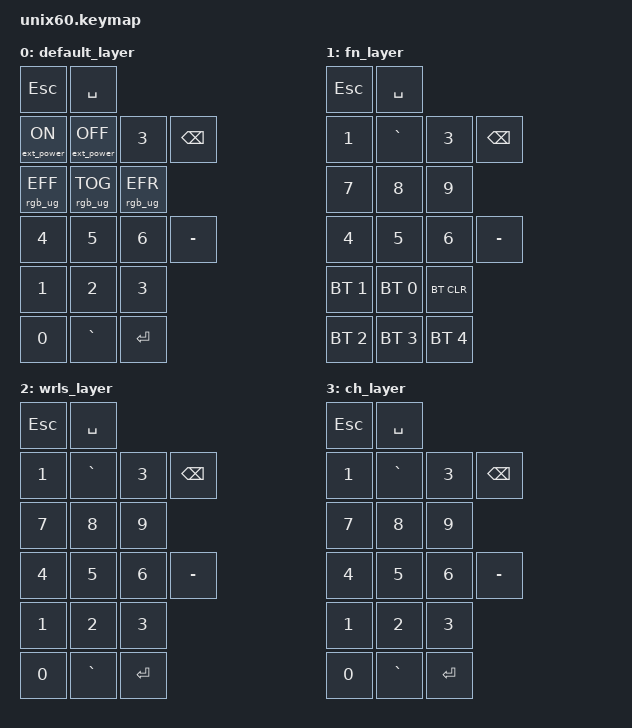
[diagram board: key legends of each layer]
#include <behaviors.dtsi>
#include <dt-bindings/zmk/keys.h>
#include <dt-bindings/zmk/bt.h>
#include <dt-bindings/zmk/ext_power.h>
#include <dt-bindings/zmk/rgb.h>

#define DEFAULT 0
#define FN 1
#define WRLS 2
#define CH 3


&pinctrl {
    spi3_default: spi3_default {
        group1 {
            psels = <NRF_PSEL(SPIM_MOSI, 0, 9)>;
        };
    };

    spi3_sleep: spi3_sleep {
        group1 {
            psels = <NRF_PSEL(SPIM_MOSI, 0, 9)>;
            low-power-enable;
        };
    };
};

&spi3 {
    compatible = "nordic,nrf-spim";
    status = "okay";

    pinctrl-0 = <&spi3_default>;
    pinctrl-1 = <&spi3_sleep>;
    pinctrl-names = "default", "sleep";

    led_strip: ws2812@0 {
        compatible = "worldsemi,ws2812-spi";

        /* SPI */
        reg = <0>; /* ignored, but necessary for SPI bindings */
        spi-max-frequency = <4000000>;

        /* WS2812 */
        chain-length = <11>;
        spi-one-frame = <0x70>;
        spi-zero-frame = <0x40>;

        color-mapping = <LED_COLOR_ID_GREEN LED_COLOR_ID_RED LED_COLOR_ID_BLUE>;
    };
};

/ {
    chosen {
        zmk,underglow = &led_strip;
    };
};
/ {
    keymap {
        compatible = "zmk,keymap";

        default_layer {
            bindings = <
                &kp ESC   &kp SPACE
                &ext_power EP_ON    &ext_power EP_OFF &kp N3   &kp BSPC      
                &rgb_ug RGB_EFF    &rgb_ug RGB_TOG    &rgb_ug RGB_EFR   
                &kp N4    &kp N5    &kp N6   &kp MINUS 
                &kp N1    &kp N2    &kp N3 
                &kp N0    &kp GRAVE          &kp ENTER
               
            >;
        };

        fn_layer {
            bindings = <
               
                
                &kp ESC   &kp SPACE
                &kp N1    &kp GRAVE &kp N3   &kp BSPC      
                &kp N7    &kp N8    &kp N9    
                &kp N4    &kp N5    &kp N6   &kp MINUS
                &bt BT_SEL 1    &bt BT_SEL 0   &bt BT_CLR 
                &bt BT_SEL 2    &bt BT_SEL 3          &bt BT_SEL 4
            >;
        };
        wrls_layer {
            bindings =<
                &kp ESC   &kp SPACE
                &kp N1    &kp GRAVE &kp N3   &kp BSPC      
                &kp N7    &kp N8    &kp N9   
                &kp N4    &kp N5    &kp N6   &kp MINUS 
                &kp N1    &kp N2    &kp N3 
                &kp N0    &kp GRAVE          &kp ENTER
            >;
        };

        ch_layer {
            bindings = <
                &kp ESC   &kp SPACE
                &kp N1    &kp GRAVE &kp N3   &kp BSPC      
                &kp N7    &kp N8    &kp N9   
                &kp N4    &kp N5    &kp N6   &kp MINUS 
                &kp N1    &kp N2    &kp N3 
                &kp N0    &kp GRAVE          &kp ENTER
            >;
        };
    };
};
